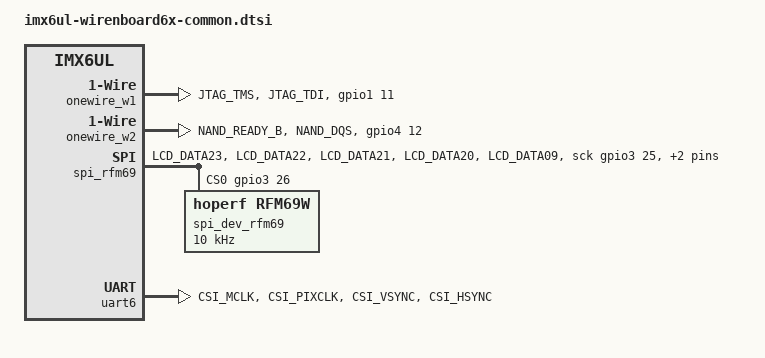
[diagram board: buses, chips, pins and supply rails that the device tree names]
/*
 * Copyright 2020 Contactless Devices, LLC.
 *
 * The code contained herein is licensed under the GNU General Public
 * License. You may obtain a copy of the GNU General Public License
 * Version 2 or later at the following locations:
 *
 * http://www.opensource.org/licenses/gpl-license.html
 * http://www.gnu.org/copyleft/gpl.html
 */

#include "imx6ul-wirenboard6-common.dtsi"

/ {
    /* Enable 1-wire network on terminal block W1 */
	onewire_w1: onewire_w1 {
		compatible = "w1-gpio";
		pinctrl-names = "default";
		pinctrl-0 = <&pinctrl_w1_gpio>;

		gpios = <&gpio1 11 0>;
		pu-gpios = <&gpio1 13 0>;
	};

	/* Enable 1-wire network on terminal block W2 */
	onewire_w2: onewire_w2 {
		compatible = "w1-gpio";
		pinctrl-names = "default";
		pinctrl-0 = <&pinctrl_w2_gpio>;

		gpios = <&gpio4 12 0>;
		pu-gpios = <&gpio4 16 0>;
	};
};

&spi_rfm69 {
    compatible = "spi-gpio";

    pinctrl-names = "default";
    pinctrl-0 = <&pinctrl_rfm69_spi_irq>;
    status = "okay";

    gpio-sck = <&gpio3 25 0>;
    gpio-mosi = <&gpio3 27 0>;
    gpio-miso = <&gpio3 28 0>;
    cs-gpios = <&gpio3 26 0>;
    num-chipselects = <1>;
    #address-cells = <1>;
    #size-cells = <0>;

    spi_dev_rfm69: spidev@0 {
        compatible = "hoperf,rfm69w";
        spi-max-frequency = <10000>;
        reg = <0>;
    };
};

&uart6 {
	pinctrl-names = "default";
	pinctrl-0 = <&pinctrl_uart6>;
	uart-has-rtscts;
	status = "okay";
};

&iomuxc {
	pinctrl-names = "default";
	pinctrl-0 = <&pinctrl_io_gpio>;

    pinctrl_enet2: enet2grp {
		fsl,pins = <
			MX6UL_PAD_ENET2_RX_EN__ENET2_RX_EN	0x1b0b0
			MX6UL_PAD_ENET2_RX_ER__ENET2_RX_ER	0x1b0b0
			MX6UL_PAD_ENET2_RX_DATA0__ENET2_RDATA00	0x1b0b0
			MX6UL_PAD_ENET2_RX_DATA1__ENET2_RDATA01	0x1b0b0
			MX6UL_PAD_ENET2_TX_EN__ENET2_TX_EN	0x1b0b0
			MX6UL_PAD_ENET2_TX_DATA0__ENET2_TDATA00	0x1b0b0
			MX6UL_PAD_ENET2_TX_DATA1__ENET2_TDATA01	0x1b0b0
			MX6UL_PAD_ENET2_TX_CLK__ENET2_REF_CLK2	0x4001b031
			MX6UL_PAD_SNVS_TAMPER0__GPIO5_IO00	0x17059
		>;
	};

    pinctrl_flexcan2: flexcan2grp{
		fsl,pins = <
			MX6UL_PAD_SD1_DATA3__FLEXCAN2_RX	0x1b020
			MX6UL_PAD_SD1_DATA2__FLEXCAN2_TX	0x1b020
			MX6UL_PAD_UART4_TX_DATA__GPIO1_IO28	0xb0b0
			MX6UL_PAD_UART4_RX_DATA__GPIO1_IO29	0xb0b0
			MX6UL_PAD_LCD_ENABLE__GPIO3_IO01	0xb0b0
			MX6UL_PAD_LCD_HSYNC__GPIO3_IO02     0x30b0 /* RTS, 100K Ohm Pull Down */
			MX6UL_PAD_UART2_RTS_B__GPIO1_IO23   0xf0b0 /* CAN transceiver power, 22K Ohm Pull Up */
			MX6UL_PAD_LCD_DATA18__GPIO3_IO23    0x30b0 /* RS-485-2 failsafe bias, 100K Ohm Pull Down  */
		>;
	};

    pinctrl_uart4_rs485: uart4rs485grp {
		fsl,pins = <
			MX6UL_PAD_UART4_TX_DATA__UART4_DCE_TX   0x1b0b1
			MX6UL_PAD_UART4_RX_DATA__UART4_DCE_RX   0x1b0b1
			MX6UL_PAD_LCD_HSYNC__UART4_DCE_CTS   0x1b0b1
			MX6UL_PAD_LCD_ENABLE__GPIO3_IO01   0xb0b0
			MX6UL_PAD_SD1_DATA3__GPIO2_IO21   0xb0b0
			MX6UL_PAD_SD1_DATA2__GPIO2_IO20   0xb0b0
			MX6UL_PAD_UART2_RTS_B__GPIO1_IO23   0x30b0 /* CAN transceiver power, 100K Ohm Pull Down */
			MX6UL_PAD_LCD_DATA18__GPIO3_IO23    0x70b0 /* RS-485-2 failsafe bias, 47K Ohm Pull Up */
		>;
	};

    pinctrl_uart4_can: uart4cangrp {
		fsl,pins = <
			MX6UL_PAD_UART4_TX_DATA__UART4_DCE_TX   0x1b0b1
			MX6UL_PAD_LCD_ENABLE__UART4_DCE_RX   0x1b0b1
			MX6UL_PAD_UART4_RX_DATA__GPIO1_IO29   0xb0b0
			MX6UL_PAD_SD1_DATA3__GPIO2_IO21   0xb0b0
			MX6UL_PAD_SD1_DATA2__GPIO2_IO20   0xb0b0
			MX6UL_PAD_LCD_HSYNC__GPIO3_IO02     0x30b0 /* RTS, 100K Ohm Pull Down */
			MX6UL_PAD_UART2_RTS_B__GPIO1_IO23   0xf0b0 /* CAN transceiver power, 22K Ohm Pull Up */
			MX6UL_PAD_LCD_DATA18__GPIO3_IO23    0x30b0 /* RS-485-2 failsafe bias, 100K Ohm Pull Down  */
		>;
	};

    pinctrl_uart6: uart6grp {
		fsl,pins = <
			MX6UL_PAD_CSI_MCLK__UART6_DCE_TX   0x1b0b1
			MX6UL_PAD_CSI_PIXCLK__UART6_DCE_RX   0x1b0b1
			MX6UL_PAD_CSI_VSYNC__UART6_DCE_RTS   0x1b0b1
			MX6UL_PAD_CSI_HSYNC__UART6_DCE_CTS   0x1b0b1
		>;
	};

	pinctrl_uart7_ctsb: uart7ctsbgrp {
		fsl,pins = <
			MX6UL_PAD_LCD_DATA06__UART7_DCE_CTS  0x1b0b1
		>;
	};

    pinctrl_io_gpio: iogrp {
		fsl,pins = <
			MX6UL_PAD_LCD_DATA10__GPIO3_IO15	0x30b0 /* FET1 */
			MX6UL_PAD_LCD_DATA11__GPIO3_IO16	0x30b0 /* FET2 */
			MX6UL_PAD_LCD_DATA12__GPIO3_IO17	0x30b0 /* FET3 */
			MX6UL_PAD_LCD_DATA13__GPIO3_IO18	0x30b0 /* FET4 */
			MX6UL_PAD_CSI_DATA03__GPIO4_IO24	0x30b0 /* RESET_SIM900 */
			MX6UL_PAD_LCD_DATA15__GPIO3_IO20	0x30b0 /* POWER_SIM900 */
			MX6UL_PAD_LCD_DATA14__GPIO3_IO19	0x30b0 /* STATUS SIM900 */
			MX6UL_PAD_LCD_DATA19__GPIO3_IO24	0x30b0 /* SIM select */
			MX6UL_PAD_UART1_CTS_B__GPIO1_IO18	0x70b0 /* Battery STAT1, pulled up */
			MX6UL_PAD_UART1_RTS_B__GPIO1_IO19	0x70b0 /* Battery STAT2, pulled up */
			MX6UL_PAD_JTAG_TDO__CCM_CLKO2	0xb0 /* 24MHz clock output */
			MX6UL_PAD_UART3_RTS_B__GPIO1_IO27	0x30b0 /* 5V enable */
			MX6UL_PAD_LCD_DATA04__GPIO3_IO09	0x30b0 /* V_OUT_ON */
			MX6UL_PAD_LCD_DATA03__GPIO3_IO08	0xb0b0 /* V_OUT_ST, 100K Ohm PU */
			MX6UL_PAD_CSI_DATA02__GPIO4_IO23        0x70b0 /* RS-485-1 failsafe bias, pulled up */

			MX6UL_PAD_NAND_CE0_B__GPIO4_IO13 	0x30b0 /* IN1 */
			MX6UL_PAD_NAND_CLE__GPIO4_IO15 	0x30b0 /* IN2 */
			MX6UL_PAD_NAND_CE1_B__GPIO4_IO14 	0x30b0 /* IN3 */
			MX6UL_PAD_GPIO1_IO00__GPIO1_IO00 	0x30b0 /* IN4 */

			MX6UL_PAD_JTAG_MOD__GPIO1_IO10		0x80000000 /* SPDIF_OUT connected to MODULE 2 TX PIN via 3K, must be high when i2c*/
		>;
	};

    pinctrl_w1_gpio: w1grp {
		fsl,pins = <
			MX6UL_PAD_JTAG_TMS__GPIO1_IO11	0x30b0
			MX6UL_PAD_JTAG_TDI__GPIO1_IO13	0x30b0
		>;
	};

	pinctrl_w2_gpio: w2grp {
		fsl,pins = <
			MX6UL_PAD_NAND_READY_B__GPIO4_IO12	0x30b0
			MX6UL_PAD_NAND_DQS__GPIO4_IO16	0x30b0
		>;
	};

	pinctrl_rfm69_spi_irq: rfm69spigrp {
		fsl,pins = <
			MX6UL_PAD_LCD_DATA23__GPIO3_IO28	0x30b0
			MX6UL_PAD_LCD_DATA22__GPIO3_IO27	0x30b0
			MX6UL_PAD_LCD_DATA21__GPIO3_IO26	0x30b0
			MX6UL_PAD_LCD_DATA20__GPIO3_IO25	0x30b0
			MX6UL_PAD_LCD_DATA09__GPIO3_IO14	0x30b0
		>;
	};

    pinctrl_mod3_txrx_gpio: mod3uartgpiogrp-1 {
		fsl,pins = <
			MX6UL_PAD_LCD_DATA16__GPIO3_IO21	0x30b0
			MX6UL_PAD_LCD_DATA17__GPIO3_IO22	0x30b0
		>;
	};

	pinctrl_mod3_de_gpio: mod3uartgpiogrp-2 {
		fsl,pins = <
			MX6UL_PAD_LCD_DATA06__GPIO3_IO11	0x30b0
		>;
	};

	pinctrl_mod3_i2c_gpio: mod3i2cgpiogrp-1 {
		fsl,pins = <
			MX6UL_PAD_LCD_DATA16__GPIO3_IO21	0x70b0 /* SDA, 47K PU */
			MX6UL_PAD_LCD_DATA17__GPIO3_IO22	0x70b0 /* SCL, 47K PU */
		>;
	};

	pinctrl_mod3_spi_gpio: mod3spigpiogrp-2 {
		fsl,pins = <
			MX6UL_PAD_CSI_DATA06__GPIO4_IO27	0x30b0
			MX6UL_PAD_CSI_DATA07__GPIO4_IO28	0x30b0
			MX6UL_PAD_CSI_DATA04__GPIO4_IO25	0x30b0
			MX6UL_PAD_CSI_DATA05__GPIO4_IO26	0x30b0
		>;
	};

    wirenboard {
        radio { /**/
			irq-gpios = <&gpio3 14 0>;
			dio2-gpios = <&gpio3 13 0>;
			spi-major-minor = <9 0>;				// deprecated. use spi-device to define rfm69 spi port
			spi-device = <&spi_dev_rfm69>;
			lirc-device = <&lirc_dev_rfm69>;
		};
    };
};
